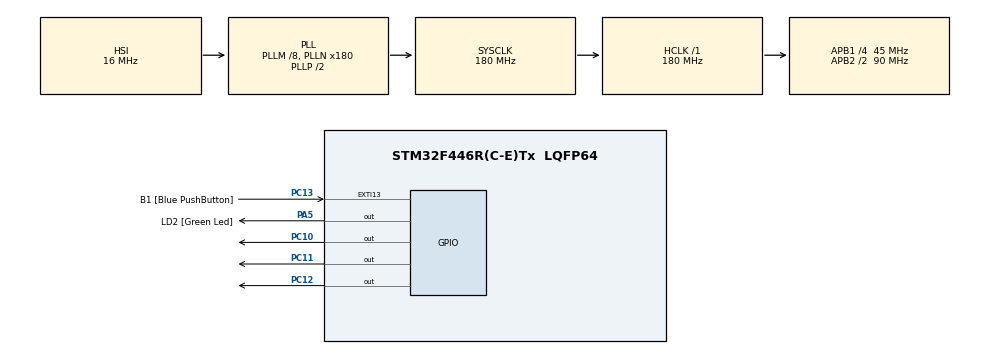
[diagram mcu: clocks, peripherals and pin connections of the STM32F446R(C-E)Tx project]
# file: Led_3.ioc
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Mcu.Family=STM32F4
Mcu.Name=STM32F446R(C-E)Tx
Mcu.Package=LQFP64
NVIC.PriorityGroup=NVIC_PRIORITYGROUP_4
NVIC.TIM6_DAC_IRQn=true\:0\:0\:false\:false\:true\:false\:true\:true
NVIC.TimeBase=TIM6_DAC_IRQn
NVIC.TimeBaseIP=TIM6
PA13.GPIO_Label=TMS
PA13.Signal=SYS_JTMS-SWDIO
PA14.GPIO_Label=TCK
PA14.Signal=SYS_JTCK-SWCLK
PA2.GPIO_Label=USART_TX
PA2.Signal=USART2_TX
PA3.GPIO_Label=USART_RX
PA3.Signal=USART2_RX
PA5.GPIO_Label=LD2 [Green Led]
PA5.Signal=GPIO_Output
PB3.GPIO_Label=SWO
PB3.Signal=SYS_JTDO-SWO
PC10.Signal=GPIO_Output
PC11.Signal=GPIO_Output
PC12.Signal=GPIO_Output
PC13.GPIO_Label=B1 [Blue PushButton]
PC13.GPIO_ModeDefaultEXTI=GPIO_MODE_IT_FALLING
PC13.Signal=GPXTI13
PC14-OSC32_IN.Signal=RCC_OSC32_IN
PC15-OSC32_OUT.Signal=RCC_OSC32_OUT
PH0-OSC_IN.Signal=RCC_OSC_IN
PH1-OSC_OUT.Signal=RCC_OSC_OUT
ProjectManager.HeapSize=0x200
ProjectManager.StackSize=0x400
ProjectManager.TargetToolchain=STM32CubeIDE
RCC.AHBFreq_Value=180000000
RCC.APB1CLKDivider=RCC_HCLK_DIV4
RCC.APB1Freq_Value=45000000
RCC.APB1TimFreq_Value=90000000
RCC.APB2CLKDivider=RCC_HCLK_DIV2
RCC.APB2Freq_Value=90000000
RCC.APB2TimFreq_Value=180000000
RCC.CortexFreq_Value=180000000
RCC.FLatency-AdvancedSettings=FLASH_LATENCY_5
RCC.HCLKFreq_Value=180000000
RCC.HSE_VALUE=8000000
RCC.HSI_VALUE=16000000
RCC.LSE_VALUE=32768
RCC.PLLM=8
RCC.PLLN=180
RCC.SYSCLKFreq_VALUE=180000000
RCC.SYSCLKSource=RCC_SYSCLKSOURCE_PLLCLK
RCC.USBFreq_Value=180000000
RCC.VCOOutputFreq_Value=360000000
VP_SYS_VS_tim6.Mode=TIM6
board=NUCLEO-F446RE

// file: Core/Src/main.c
/* USER CODE BEGIN Header */
/**
  ******************************************************************************
  * @file           : main.c
  * @brief          : Main program body
  ******************************************************************************
  * @attention
  *
  * Copyright (c) 2022 STMicroelectronics.
  * All rights reserved.
  *
  * This software is licensed under terms that can be found in the LICENSE file
  * in the root directory of this software component.
  * If no LICENSE file comes with this software, it is provided AS-IS.
  *
  ******************************************************************************
  */
/* USER CODE END Header */
#include "main.h"

/* USER CODE BEGIN Includes */
#include "FreeRTOS.h"
#include"task.h"
/* USER CODE END Includes */

/* USER CODE BEGIN PV */
#define DWT_CTRL (*(volatile uint32_t *)0xE0001000)
/* USER CODE END PV */

void SystemClock_Config(void);
static void MX_GPIO_Init(void);
/* USER CODE BEGIN PFP */
static void led_green_handler (void *parameters)  ;
static void led_red_handler (void *parameters)  ;
static void led_orange_handler (void *parameters)  ;

/* USER CODE END PFP */

int main(void)
{
  /* USER CODE BEGIN 1 */
	TaskHandle_t  task1_handle ;
	TaskHandle_t  task2_handle  ;
	TaskHandle_t task3_handle ;
  /* USER CODE END 1 */
	BaseType_t status ;
  /* MCU Configuration--------------------------------------------------------*/

  /* Reset of all peripherals, Initializes the Flash interface and the Systick. */
  HAL_Init();

  /* Configure the system clock */
  SystemClock_Config();

  /* Initialize all configured peripherals */
  MX_GPIO_Init();
  /* USER CODE BEGIN 2 */
  DWT_CTRL |= (1<<0) ;

  SEGGER_UART_init(500000);

  SEGGER_SYSVIEW_Conf() ;
 // SEGGER_SYSVIEW_Start() ;

  status = xTaskCreate(led_green_handler, "Led green task", 200,NULL, 2, &task1_handle) ;
  configASSERT(status == pdPASS) ; // nếu tạo không thành công vẽ rơi vào vòng lặp vô hạn => có lỗi

  status = xTaskCreate(led_red_handler, "Led red task", 200, NULL, 2, &task2_handle) ;
  configASSERT(status == pdPASS) ; // nếu tạo không thành công vẽ rơi vào vòng lặp vô hạn => có lỗi

  status = xTaskCreate(led_orange_handler, "Led orange task", 200, NULL, 2, &task3_handle) ;
  configASSERT(status == pdPASS) ; // nếu tạo không thành công vẽ rơi vào vòng lặp vô hạn => có lỗi

  // start the FreeRTOS scheduler
  vTaskStartScheduler();
  /* USER CODE END 2 */

  /* Infinite loop */
  while (1)
  {

  }
}

void SystemClock_Config(void)
{
  RCC_OscInitTypeDef RCC_OscInitStruct = {0};
  RCC_ClkInitTypeDef RCC_ClkInitStruct = {0};

  /** Configure the main internal regulator output voltage
  */
  __HAL_RCC_PWR_CLK_ENABLE();
  __HAL_PWR_VOLTAGESCALING_CONFIG(PWR_REGULATOR_VOLTAGE_SCALE1);

  /** Initializes the RCC Oscillators according to the specified parameters
  * in the RCC_OscInitTypeDef structure.
  */
  RCC_OscInitStruct.OscillatorType = RCC_OSCILLATORTYPE_HSI;
  RCC_OscInitStruct.HSIState = RCC_HSI_ON;
  RCC_OscInitStruct.HSICalibrationValue = RCC_HSICALIBRATION_DEFAULT;
  RCC_OscInitStruct.PLL.PLLState = RCC_PLL_ON;
  RCC_OscInitStruct.PLL.PLLSource = RCC_PLLSOURCE_HSI;
  RCC_OscInitStruct.PLL.PLLM = 8;
  RCC_OscInitStruct.PLL.PLLN = 180;
  RCC_OscInitStruct.PLL.PLLP = RCC_PLLP_DIV2;
  RCC_OscInitStruct.PLL.PLLQ = 2;
  RCC_OscInitStruct.PLL.PLLR = 2;
  if (HAL_RCC_OscConfig(&RCC_OscInitStruct) != HAL_OK)
  {
    Error_Handler();
  }

  /** Activate the Over-Drive mode
  */
  if (HAL_PWREx_EnableOverDrive() != HAL_OK)
  {
    Error_Handler();
  }

  /** Initializes the CPU, AHB and APB buses clocks
  */
  RCC_ClkInitStruct.ClockType = RCC_CLOCKTYPE_HCLK|RCC_CLOCKTYPE_SYSCLK
                              |RCC_CLOCKTYPE_PCLK1|RCC_CLOCKTYPE_PCLK2;
  RCC_ClkInitStruct.SYSCLKSource = RCC_SYSCLKSOURCE_PLLCLK;
  RCC_ClkInitStruct.AHBCLKDivider = RCC_SYSCLK_DIV1;
  RCC_ClkInitStruct.APB1CLKDivider = RCC_HCLK_DIV4;
  RCC_ClkInitStruct.APB2CLKDivider = RCC_HCLK_DIV2;

  if (HAL_RCC_ClockConfig(&RCC_ClkInitStruct, FLASH_LATENCY_5) != HAL_OK)
  {
    Error_Handler();
  }
}

static void MX_GPIO_Init(void)
{
  GPIO_InitTypeDef GPIO_InitStruct = {0};

  /* GPIO Ports Clock Enable */
  __HAL_RCC_GPIOC_CLK_ENABLE();
  __HAL_RCC_GPIOH_CLK_ENABLE();
  __HAL_RCC_GPIOA_CLK_ENABLE();
  __HAL_RCC_GPIOB_CLK_ENABLE();

  /*Configure GPIO pin Output Level */
  HAL_GPIO_WritePin(LD2_GPIO_Port, LD2_Pin, GPIO_PIN_RESET);

  /*Configure GPIO pin Output Level */
  HAL_GPIO_WritePin(GPIOC, GPIO_PIN_10|GPIO_PIN_11|GPIO_PIN_12, GPIO_PIN_RESET);

  /*Configure GPIO pin : B1_Pin */
  GPIO_InitStruct.Pin = B1_Pin;
  GPIO_InitStruct.Mode = GPIO_MODE_IT_FALLING;
  GPIO_InitStruct.Pull = GPIO_NOPULL;
  HAL_GPIO_Init(B1_GPIO_Port, &GPIO_InitStruct);

  /*Configure GPIO pins : USART_TX_Pin USART_RX_Pin */
  GPIO_InitStruct.Pin = USART_TX_Pin|USART_RX_Pin;
  GPIO_InitStruct.Mode = GPIO_MODE_AF_PP;
  GPIO_InitStruct.Pull = GPIO_NOPULL;
  GPIO_InitStruct.Speed = GPIO_SPEED_FREQ_VERY_HIGH;
  GPIO_InitStruct.Alternate = GPIO_AF7_USART2;
  HAL_GPIO_Init(GPIOA, &GPIO_InitStruct);

  /*Configure GPIO pin : LD2_Pin */
  GPIO_InitStruct.Pin = LD2_Pin;
  GPIO_InitStruct.Mode = GPIO_MODE_OUTPUT_PP;
  GPIO_InitStruct.Pull = GPIO_NOPULL;
  GPIO_InitStruct.Speed = GPIO_SPEED_FREQ_LOW;
  HAL_GPIO_Init(LD2_GPIO_Port, &GPIO_InitStruct);

  /*Configure GPIO pins : PC10 PC11 PC12 */
  GPIO_InitStruct.Pin = GPIO_PIN_10|GPIO_PIN_11|GPIO_PIN_12;
  GPIO_InitStruct.Mode = GPIO_MODE_OUTPUT_PP;
  GPIO_InitStruct.Pull = GPIO_NOPULL;
  GPIO_InitStruct.Speed = GPIO_SPEED_FREQ_LOW;
  HAL_GPIO_Init(GPIOC, &GPIO_InitStruct);

}

/* USER CODE BEGIN 4 */
static void led_green_handler (void *parameters)
{
	while(1)
	{
		SEGGER_SYSVIEW_PrintfTarget("Led green");
		HAL_GPIO_TogglePin(GPIOC, GPIO_PIN_11);
		HAL_Delay(1000);
	}
}
static void led_red_handler (void *parameters)
{
	while(1)
	{
		SEGGER_SYSVIEW_PrintfTarget("Led red");
		HAL_GPIO_TogglePin(GPIOC, GPIO_PIN_12);
		HAL_Delay(800);
	}
}
static void led_orange_handler (void *parameters)
{
	while(1)
	{
		SEGGER_SYSVIEW_PrintfTarget("Led orange");
		HAL_GPIO_TogglePin(GPIOC, GPIO_PIN_10);
		HAL_Delay(400);
	}
}
/* USER CODE END 4 */

void HAL_TIM_PeriodElapsedCallback(TIM_HandleTypeDef *htim)
{
  if (htim->Instance == TIM6) {
    HAL_IncTick();
  }
}

void Error_Handler(void)
{
  __disable_irq();
  while (1)
  {
  }
}
